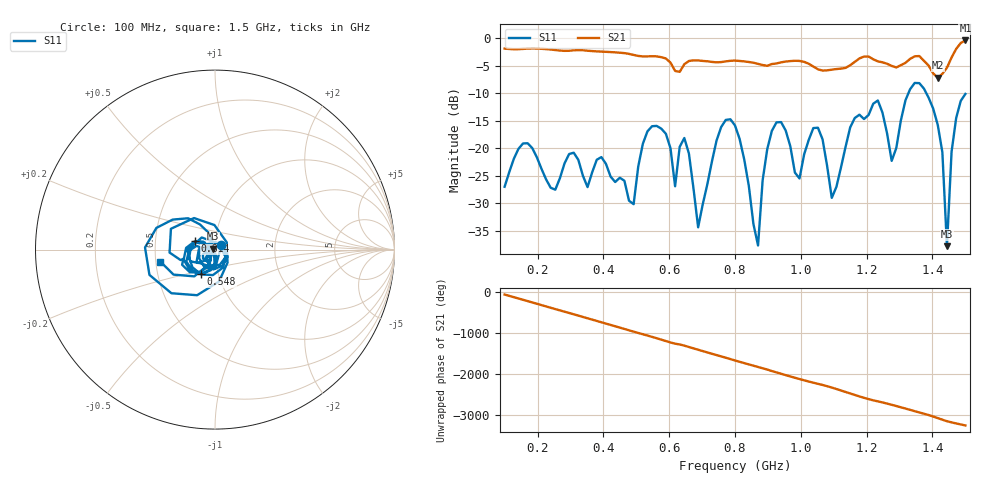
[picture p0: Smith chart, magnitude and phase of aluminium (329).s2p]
! NanoVNA-App
! Date: 2025-09-25 14:57:50
! Start: 100MHz Stop: 1,5GHz Points: 101
! S-Parameter data: F S11 S21 S12 S22
# Hz S RI R 50
!  Frequency  S11_Real  S11_Imag  S21_Real  S21_Imag  S12_Real  S12_Imag  S22_Real  S22_Imag
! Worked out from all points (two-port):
!   101 points, 100 MHz to 1.5 GHz, reference 50 ohm
!   highest |S21| = -0.44 dB at 1.5 GHz (marker M1); lowest = -7.2 dB at 1.416 GHz (marker M2)
!   |S21| within 3 dB of the highest: start of sweep to 573 MHz; 1.459 GHz to end of sweep (the widest 2 of 4)
!   lowest |S11| = -37.7 dB at 1.444 GHz (marker M3), VSWR 1.03, Z = 48.8 + j0.465 ohm
!   |S11| at or under -10 dB: start of sweep to 1.327 GHz; 1.381 GHz to end of sweep
!   S12 and S22 are empty: the file has one direction only
!   S11 on the Smith chart (normalised r, x): 100 MHz: 1.07, +0.06; 548 MHz: 0.82, -0.23; 814 MHz: 0.79, +0.07; 1.5 GHz: 0.53, -0.08
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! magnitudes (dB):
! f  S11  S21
! 100 MHz  -27.0  -1.9
! 338 MHz  -25.0  -2.2
! 492 MHz  -30.1  -3.1
! 548 MHz  -16.0  -3.3
! 576 MHz  -16.4  -3.5
! 618 MHz  -26.9  -6.0
! 646 MHz  -18.1  -4.7
! 688 MHz  -34.3  -4.1
! 800 MHz  -15.9  -4.1
! 814 MHz  -18.3  -4.2
! 870 MHz  -37.6  -4.7
! 912 MHz  -16.8  -4.7
! 996 MHz  -25.5  -4.2
! 1.038 GHz  -16.3  -5.2
! 1.094 GHz  -29.0  -5.7
! 1.234 GHz  -11.3  -4.2
! 1.276 GHz  -22.3  -5.1
! 1.346 GHz  -8.1  -3.3
! 1.416 GHz  -15.7  -7.2
! 1.444 GHz  -37.7  -5.4
! 1.458 GHz  -20.6  -3.5
! 1.5 GHz  -10.1  -0.4
